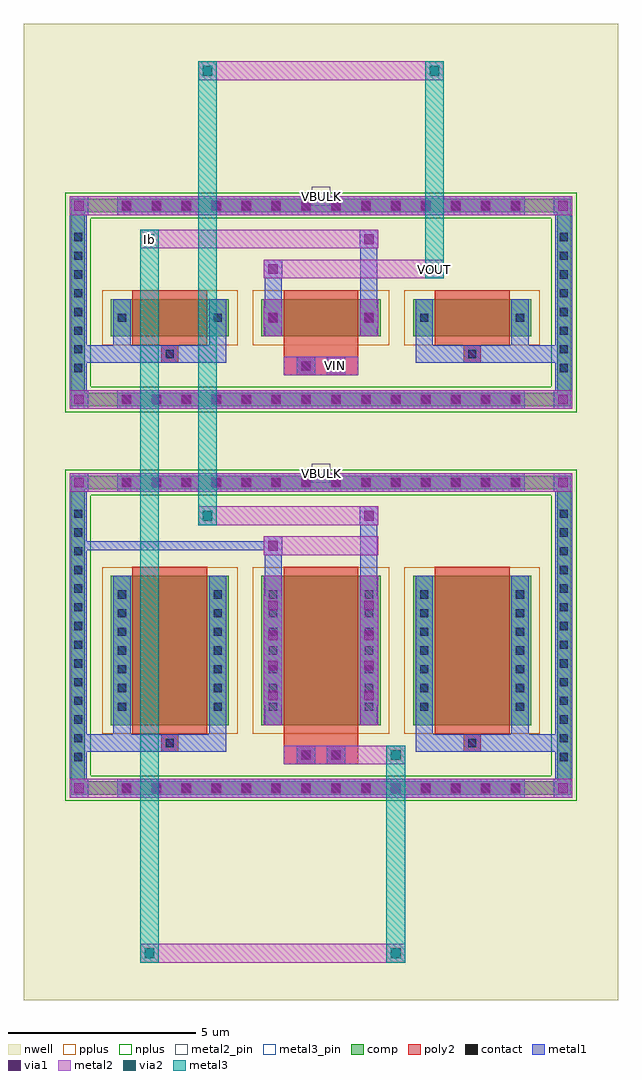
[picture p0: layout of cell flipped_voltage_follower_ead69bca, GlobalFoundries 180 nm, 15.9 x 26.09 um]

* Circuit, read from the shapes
.subckt flipped_voltage_follower_ead69bca Ib VBULK VIN VOUT
XM1 VBULK VBULK VBULK VBULK pfet_03v3 w=4u l=2u m=2
XM2 VBULK VBULK VBULK VBULK pfet_03v3 w=1u l=2u m=2
XM3 VOUT Ib VBULK VBULK pfet_03v3 w=4u l=2u
XM4 Ib VIN VOUT VBULK pfet_03v3 w=1u l=2u
.ends

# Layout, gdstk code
import gdstk
lib = gdstk.Library(unit=1e-6, precision=5e-09)
def R(c, l, rs):  # rectangles x0, y0, x1, y1
    for r in rs: c.add(gdstk.rectangle(r[:2], r[2:], *l))
def A(c, l, x, y, w, h, nx, ny, dx, dy):  # array of equal rectangles
    R(c, l, [(x+i*dx, y+j*dy, x+i*dx+w, y+j*dy+h) for i in range(nx) for j in range(ny)])
def P(c, l, *ps):  # polygons
    for p in ps: c.add(gdstk.Polygon(p, *l))
nwell = (21, 0)
comp = (22, 0)
poly2 = (30, 0)
pplus = (31, 0)
nplus = (32, 0)
contact = (33, 0)
metal1 = (34, 0)
via1 = (35, 0)
metal2 = (36, 0)
metal2_pin = (36, 10)
via2 = (38, 0)
metal3 = (42, 0)
metal3_pin = (42, 10)

flipped_voltage_follower = lib.new_cell('flipped_voltage_follower_ead69bca')
R(flipped_voltage_follower, nwell, [(-7.95,-18.64,7.95,7.445), (-6.95,-13.44,6.95,-4.35), (-6.79,-13.28,6.79,-4.51), (-6.95,-3.05,6.95,3.05), (-6.79,-2.89,6.79,2.89)])
A(flipped_voltage_follower, comp, -5.38, -13.16, 0.36, 0.36, 14, 2, 0.8, 8.17)
A(flipped_voltage_follower, comp, -6.67, -12.325, 0.36, 0.36, 1, 14, 0, 0.5)
A(flipped_voltage_follower, comp, 6.31, -12.325, 0.36, 0.36, 1, 14, 0, 0.5)
A(flipped_voltage_follower, comp, -5.38, -2.77, 0.36, 0.36, 14, 2, 0.8, 5.18)
A(flipped_voltage_follower, comp, -6.67, -1.93, 0.36, 0.36, 1, 8, 0, 0.5)
A(flipped_voltage_follower, comp, 6.31, -1.93, 0.36, 0.36, 1, 8, 0, 0.5)
R(flipped_voltage_follower, comp, [(-5.38,-13.16,5.38,-12.8), (-6.67,-12.325,-6.31,-5.465), (6.31,-12.325,6.67,-5.465), (-5.62,-11.3,-2.46,-7.3), (-1.6,-11.3,1.6,-7.3), (2.46,-11.3,5.62,-7.3), (-5.38,-4.99,5.38,-4.63), (-5.38,-2.77,5.38,-2.41), (-6.67,-1.93,-6.31,1.93), (6.31,-1.93,6.67,1.93), (-5.62,-0.905,-2.46,0.095), (-1.6,-0.905,1.6,0.095), (2.46,-0.905,5.62,0.095), (-5.38,2.41,5.38,2.77)])
P(flipped_voltage_follower, comp, [(6.67,2.77),(-6.67,2.77),(-6.67,-2.41),(-6.31,-2.41),(-6.31,2.41),(6.31,2.41),(6.31,-2.41),(-6.31,-2.41),(-6.67,-2.41),(-6.67,-2.77),(6.67,-2.77)],
  [(6.67,-4.63),(-6.67,-4.63),(-6.67,-12.8),(-6.31,-12.8),(-6.31,-4.99),(6.31,-4.99),(6.31,-12.8),(-6.31,-12.8),(-6.67,-12.8),(-6.67,-13.16),(6.67,-13.16)])
A(flipped_voltage_follower, poly2, -5.04, -11.54, 2, 4.48, 3, 1, 4.04, 0)
A(flipped_voltage_follower, poly2, -5.04, -1.145, 2, 1.48, 3, 1, 4.04, 0)
R(flipped_voltage_follower, poly2, [(-1,-12.34,1,-11.84), (-0.58,-12.27,-0.22,-11.91), (0.22,-12.27,0.58,-11.91), (-4.27,-12,-3.81,-11.54), (3.81,-12,4.27,-11.54), (-4.22,-11.95,-3.86,-11.59), (3.86,-11.95,4.22,-11.59), (-1,-11.84,1,-11.54), (-1,-1.945,1,-1.445), (-0.58,-1.875,-0.22,-1.515), (0.22,-1.875,0.58,-1.515), (-4.27,-1.605,-3.81,-1.145), (3.81,-1.605,4.27,-1.145), (-4.22,-1.555,-3.86,-1.195), (3.86,-1.555,4.22,-1.195), (-1,-1.445,1,-1.145)])
R(flipped_voltage_follower, pplus, [(-5.85,-11.53,-2.23,-7.07), (-1.83,-11.53,1.83,-7.07), (2.23,-11.53,5.85,-7.07), (-5.85,-1.135,-2.23,0.325), (-1.83,-1.135,1.83,0.325), (2.23,-1.135,5.85,0.325)])
P(flipped_voltage_follower, nplus, [(6.83,2.93),(-6.83,2.93),(-6.83,-2.25),(-6.15,-2.25),(-6.15,2.25),(6.15,2.25),(6.15,-2.25),(-6.15,-2.25),(-6.83,-2.25),(-6.83,-2.93),(6.83,-2.93)],
  [(6.83,-4.47),(-6.83,-4.47),(-6.83,-12.64),(-6.15,-12.64),(-6.15,-5.15),(6.15,-5.15),(6.15,-12.64),(-6.15,-12.64),(-6.83,-12.64),(-6.83,-13.32),(6.83,-13.32)])
A(flipped_voltage_follower, contact, -5.31, -13.09, 0.22, 0.22, 14, 2, 0.8, 8.17)
A(flipped_voltage_follower, contact, -6.6, -12.255, 0.22, 0.22, 1, 14, 0, 0.5)
A(flipped_voltage_follower, contact, 6.38, -12.255, 0.22, 0.22, 1, 14, 0, 0.5)
A(flipped_voltage_follower, contact, -5.43, -10.91, 0.22, 0.22, 1, 7, 0, 0.5)
A(flipped_voltage_follower, contact, -2.87, -10.91, 0.22, 0.22, 1, 7, 0, 0.5)
A(flipped_voltage_follower, contact, -1.39, -10.91, 0.22, 0.22, 1, 7, 0, 0.5)
A(flipped_voltage_follower, contact, 1.17, -10.91, 0.22, 0.22, 1, 7, 0, 0.5)
A(flipped_voltage_follower, contact, 2.65, -10.91, 0.22, 0.22, 1, 7, 0, 0.5)
A(flipped_voltage_follower, contact, 5.21, -10.91, 0.22, 0.22, 1, 7, 0, 0.5)
A(flipped_voltage_follower, contact, -5.31, -2.7, 0.22, 0.22, 14, 2, 0.8, 5.18)
A(flipped_voltage_follower, contact, -6.6, -1.86, 0.22, 0.22, 1, 8, 0, 0.5)
A(flipped_voltage_follower, contact, 6.38, -1.86, 0.22, 0.22, 1, 8, 0, 0.5)
R(flipped_voltage_follower, contact, [(-0.51,-12.2,-0.29,-11.98), (0.29,-12.2,0.51,-11.98), (-4.15,-11.88,-3.93,-11.66), (3.93,-11.88,4.15,-11.66), (-0.51,-1.805,-0.29,-1.585), (0.29,-1.805,0.51,-1.585), (-4.15,-1.485,-3.93,-1.265), (3.93,-1.485,4.15,-1.265), (-5.43,-0.515,-5.21,-0.295), (-2.87,-0.515,-2.65,-0.295), (-1.39,-0.515,-1.17,-0.295), (1.17,-0.515,1.39,-0.295), (2.65,-0.515,2.87,-0.295), (5.21,-0.515,5.43,-0.295)])
A(flipped_voltage_follower, metal1, -5.45, -13.23, 0.5, 0.5, 14, 2, 0.8, 8.17)
A(flipped_voltage_follower, metal1, -6.72, -12.375, 0.46, 0.46, 1, 14, 0, 0.5)
A(flipped_voltage_follower, metal1, 6.26, -12.375, 0.46, 0.46, 1, 14, 0, 0.5)
A(flipped_voltage_follower, metal1, -5.55, -11.03, 0.46, 0.46, 1, 7, 0, 0.5)
A(flipped_voltage_follower, metal1, -2.99, -11.03, 0.46, 0.46, 1, 7, 0, 0.5)
A(flipped_voltage_follower, metal1, -1.51, -11.03, 0.46, 0.46, 1, 7, 0, 0.5)
A(flipped_voltage_follower, metal1, 1.05, -11.03, 0.46, 0.46, 1, 7, 0, 0.5)
A(flipped_voltage_follower, metal1, 2.53, -11.03, 0.46, 0.46, 1, 7, 0, 0.5)
A(flipped_voltage_follower, metal1, 5.09, -11.03, 0.46, 0.46, 1, 7, 0, 0.5)
A(flipped_voltage_follower, metal1, -1.53, -10.75, 0.5, 0.5, 1, 4, 0, 0.8)
A(flipped_voltage_follower, metal1, 1.03, -10.75, 0.5, 0.5, 1, 4, 0, 0.8)
A(flipped_voltage_follower, metal1, -5.45, -2.84, 0.5, 0.5, 14, 2, 0.8, 5.18)
A(flipped_voltage_follower, metal1, -6.72, -1.98, 0.46, 0.46, 1, 8, 0, 0.5)
A(flipped_voltage_follower, metal1, 6.26, -1.98, 0.46, 0.46, 1, 8, 0, 0.5)
R(flipped_voltage_follower, metal1, [(-6.72,-13.23,-6.22,-12.73), (-6.72,-13.23,-6.22,-12.73), (-6.72,-13.23,-6.26,-12.8), (-5.45,-13.23,5.45,-12.73), (6.22,-13.23,6.72,-12.73), (6.22,-13.23,6.72,-12.73), (6.26,-13.23,6.72,-12.8), (-6.72,-12.8,-6.26,-4.99), (6.26,-12.8,6.72,-4.99), (-0.65,-12.34,-0.15,-11.84), (0.15,-12.34,0.65,-11.84), (-6.72,-12,-4.27,-11.54), (-5.55,-12,-4.27,-11.54), (-5.55,-12,-5.09,-11.3), (-4.27,-12,-3.81,-11.54), (-3.81,-12,-2.53,-11.54), (-2.99,-12,-2.53,-11.3), (2.53,-12,3.81,-11.54), (2.53,-12,2.99,-11.3), (3.81,-12,4.27,-11.54), (3.81,-12,6.72,-11.54), (4.27,-12,5.55,-11.54), (5.09,-12,5.55,-11.3), (-5.55,-11.3,-5.09,-7.3), (-2.99,-11.3,-2.53,-7.3), (-1.51,-11.3,-1.05,-7.3), (1.05,-11.3,1.51,-7.3), (2.53,-11.3,2.99,-7.3), (5.09,-11.3,5.55,-7.3), (-1.53,-10.75,-1.03,-7.85), (1.03,-10.75,1.53,-7.85), (-1.51,-7.3,-1.05,-6.25), (1.05,-7.3,1.51,-5.45), (-1.53,-6.75,-1.03,-6.25), (-1.53,-6.75,-1.03,-6.25), (-1.53,-6.75,-1.03,-6.25), (-6.72,-6.615,-1.53,-6.385), (1.03,-5.95,1.53,-5.45), (-6.72,-5.06,-6.22,-4.56), (-6.72,-5.06,-6.22,-4.56), (-5.45,-5.06,5.45,-4.56), (6.22,-5.06,6.72,-4.56), (6.22,-5.06,6.72,-4.56), (-6.72,-4.99,-6.26,-4.56), (6.26,-4.99,6.72,-4.56), (-6.72,-2.84,-6.22,-2.34), (-6.72,-2.84,-6.22,-2.34), (-6.72,-2.84,-6.26,-2.41), (-5.45,-2.84,5.45,-2.34), (6.22,-2.84,6.72,-2.34), (6.22,-2.84,6.72,-2.34), (6.26,-2.84,6.72,-2.41), (-6.72,-2.41,-6.26,2.41), (6.26,-2.41,6.72,2.41), (-0.65,-1.945,-0.15,-1.445), (0.15,-1.945,0.65,-1.445), (-6.72,-1.605,-4.27,-1.145), (-5.55,-1.605,-4.27,-1.145), (-5.55,-1.605,-5.09,-0.905), (-4.27,-1.605,-3.81,-1.145), (-3.81,-1.605,-2.53,-1.145), (-2.99,-1.605,-2.53,-0.905), (2.53,-1.605,3.81,-1.145), (2.53,-1.605,2.99,-0.905), (3.81,-1.605,4.27,-1.145), (3.81,-1.605,6.72,-1.145), (4.27,-1.605,5.55,-1.145), (5.09,-1.605,5.55,-0.905), (-5.55,-0.905,-5.09,0.095), (-2.99,-0.905,-2.53,0.095), (-1.51,-0.905,-1.05,0.095), (1.05,-0.905,1.51,0.095), (2.53,-0.905,2.99,0.095), (5.09,-0.905,5.55,0.095), (-1.53,-0.655,-1.03,-0.155), (-1.53,-0.655,-1.03,-0.155), (1.03,-0.655,1.53,-0.155), (1.03,-0.655,1.53,-0.155), (-5.55,-0.635,-5.09,-0.175), (-2.99,-0.635,-2.53,-0.175), (-1.51,-0.635,-1.05,-0.175), (1.05,-0.635,1.51,-0.175), (2.53,-0.635,2.99,-0.175), (5.09,-0.635,5.55,-0.175), (-1.51,0.095,-1.05,1.145), (1.05,0.095,1.51,1.945), (-1.53,0.645,-1.03,1.145), (1.03,1.445,1.53,1.945), (-6.72,2.34,-6.22,2.84), (-6.72,2.34,-6.22,2.84), (-5.45,2.34,5.45,2.84), (6.22,2.34,6.72,2.84), (6.22,2.34,6.72,2.84), (-6.72,2.41,-6.26,2.84), (6.26,2.41,6.72,2.84)])
A(flipped_voltage_follower, via1, -5.33, -13.11, 0.26, 0.26, 14, 2, 0.8, 8.17)
A(flipped_voltage_follower, via1, -1.41, -10.63, 0.26, 0.26, 1, 4, 0, 0.8)
A(flipped_voltage_follower, via1, 1.15, -10.63, 0.26, 0.26, 1, 4, 0, 0.8)
A(flipped_voltage_follower, via1, -5.33, -2.72, 0.26, 0.26, 14, 2, 0.8, 5.18)
R(flipped_voltage_follower, via1, [(-6.6,-13.11,-6.34,-12.85), (6.34,-13.11,6.6,-12.85), (-0.53,-12.22,-0.27,-11.96), (0.27,-12.22,0.53,-11.96), (-1.41,-6.63,-1.15,-6.37), (-1.41,-6.63,-1.15,-6.37), (1.15,-5.83,1.41,-5.57), (-6.6,-4.94,-6.34,-4.68), (6.34,-4.94,6.6,-4.68), (-6.6,-2.72,-6.34,-2.46), (6.34,-2.72,6.6,-2.46), (-0.53,-1.825,-0.27,-1.565), (0.27,-1.825,0.53,-1.565), (-1.41,-0.535,-1.15,-0.275), (1.15,-0.535,1.41,-0.275), (-1.41,0.765,-1.15,1.025), (1.15,1.565,1.41,1.825), (-6.6,2.46,-6.34,2.72), (6.34,2.46,6.6,2.72)])
A(flipped_voltage_follower, metal2, -5.45, -13.23, 0.5, 0.5, 14, 2, 0.8, 8.17)
A(flipped_voltage_follower, metal2, -1.53, -10.75, 0.5, 0.5, 1, 4, 0, 0.8)
A(flipped_voltage_follower, metal2, 1.03, -10.75, 0.5, 0.5, 1, 4, 0, 0.8)
A(flipped_voltage_follower, metal2, -5.45, -2.84, 0.5, 0.5, 14, 2, 0.8, 5.18)
R(flipped_voltage_follower, metal2, [(-4.83,-17.64,-4.33,-17.14), (-4.83,-17.64,2.25,-17.14), (1.75,-17.64,2.25,-17.14), (-6.72,-13.23,-6.22,-12.73), (-6.72,-13.23,-6.22,-12.73), (-6.72,-13.23,-6.31,-12.73), (-6.31,-13.23,6.31,-12.73), (6.22,-13.23,6.72,-12.73), (6.22,-13.23,6.72,-12.73), (6.31,-13.23,6.72,-12.73), (-1,-12.34,1,-11.84), (-0.65,-12.34,-0.15,-11.84), (0.15,-12.34,0.65,-11.84), (1,-12.34,1.75,-11.84), (1.75,-12.34,2.25,-11.84), (-1.53,-11.3,-1.03,-7.3), (1.03,-11.3,1.53,-7.3), (-1.53,-6.75,-1.03,-6.25), (-1.53,-6.75,-1.03,-6.25), (-1.53,-6.75,1.53,-6.25), (-3.28,-5.95,-2.78,-5.45), (-2.78,-5.95,-1.53,-5.45), (-1.53,-5.95,1.53,-5.45), (1.03,-5.95,1.53,-5.45), (-6.72,-5.06,-6.22,-4.56), (-6.72,-5.06,-6.22,-4.56), (-6.72,-5.06,-6.31,-4.56), (-6.31,-5.06,6.31,-4.56), (6.22,-5.06,6.72,-4.56), (6.22,-5.06,6.72,-4.56), (6.31,-5.06,6.72,-4.56), (-6.72,-2.84,-6.22,-2.34), (-6.72,-2.84,-6.22,-2.34), (-6.72,-2.84,-6.31,-2.34), (-6.31,-2.84,6.31,-2.34), (6.22,-2.84,6.72,-2.34), (6.22,-2.84,6.72,-2.34), (6.31,-2.84,6.72,-2.34), (-1,-1.945,1,-1.445), (-0.65,-1.945,-0.15,-1.445), (0.15,-1.945,0.65,-1.445), (-1.53,-0.905,-1.03,0.095), (1.03,-0.905,1.53,0.095), (-1.53,-0.655,-1.03,-0.155), (1.03,-0.655,1.53,-0.155), (-1.53,0.645,-1.03,1.145), (-1.53,0.645,1.53,1.145), (1.53,0.645,2.78,1.145), (2.78,0.645,3.28,1.145), (-4.83,1.445,-4.33,1.945), (-4.33,1.445,-1.53,1.945), (-1.53,1.445,1.53,1.945), (1.03,1.445,1.53,1.945), (-6.72,2.34,-6.22,2.84), (-6.72,2.34,-6.22,2.84), (-6.72,2.34,-6.31,2.84), (-6.31,2.34,6.31,2.84), (6.22,2.34,6.72,2.84), (6.22,2.34,6.72,2.84), (6.31,2.34,6.72,2.84), (-3.28,5.945,-2.78,6.445), (-3.28,5.945,3.28,6.445), (2.78,5.945,3.28,6.445)])
P(flipped_voltage_follower, metal2, [(-4.83,-17.14),(-4.33,-17.14),(-4.33,-17.14),(-4.83,-17.14)],
  [(1.75,-17.14),(2.25,-17.14),(2.25,-17.14),(1.75,-17.14)],
  [(-3.28,6.445),(-2.78,6.445),(-2.78,6.445),(-3.28,6.445)],
  [(2.78,6.445),(3.28,6.445),(3.28,6.445),(2.78,6.445)])
R(flipped_voltage_follower, metal2_pin, [(-0.25,-4.81,0.25,-4.31), (0.15,-1.945,0.65,-1.445), (-0.25,2.59,0.25,3.09)])
R(flipped_voltage_follower, via2, [(-4.71,-17.52,-4.45,-17.26), (1.87,-17.52,2.13,-17.26), (1.87,-12.22,2.13,-11.96), (-3.16,-5.83,-2.9,-5.57), (2.9,0.765,3.16,1.025), (-4.71,1.565,-4.45,1.825), (-3.16,6.065,-2.9,6.325), (2.9,6.065,3.16,6.325)])
R(flipped_voltage_follower, metal3, [(-4.83,-17.64,-4.33,1.445), (-4.83,-17.64,-4.33,-17.14), (-4.83,-17.64,-4.33,-17.14), (1.75,-17.64,2.25,-17.14), (1.75,-17.64,2.25,-17.14), (1.75,-17.64,2.25,-12.34), (1.75,-12.34,2.25,-11.84), (-3.28,-5.95,-2.78,-5.45), (-3.28,-5.45,-2.78,6.445), (2.78,0.645,3.28,1.145), (2.78,1.145,3.28,6.445), (-4.83,1.445,-4.33,1.945), (-3.28,5.945,-2.78,6.445), (-3.28,5.945,-2.78,6.445), (2.78,5.945,3.28,6.445), (2.78,5.945,3.28,6.445)])
R(flipped_voltage_follower, metal3_pin, [(2.78,0.645,3.28,1.145), (-4.83,1.445,-4.33,1.945)])
flipped_voltage_follower.add(gdstk.Label('VBULK', (0,2.84), layer=36, texttype=10))
flipped_voltage_follower.add(gdstk.Label('VIN', (0.4,-1.695), layer=36, texttype=10))
flipped_voltage_follower.add(gdstk.Label('VOUT', (3.03,0.895), layer=42, texttype=10))
flipped_voltage_follower.add(gdstk.Label('Ib', (-4.58,1.695), layer=42, texttype=10))
flipped_voltage_follower.add(gdstk.Label('VBULK', (0,-4.56), layer=36, texttype=10))

lib.write_gds('flipped_voltage_follower_ead69bca.gds')
